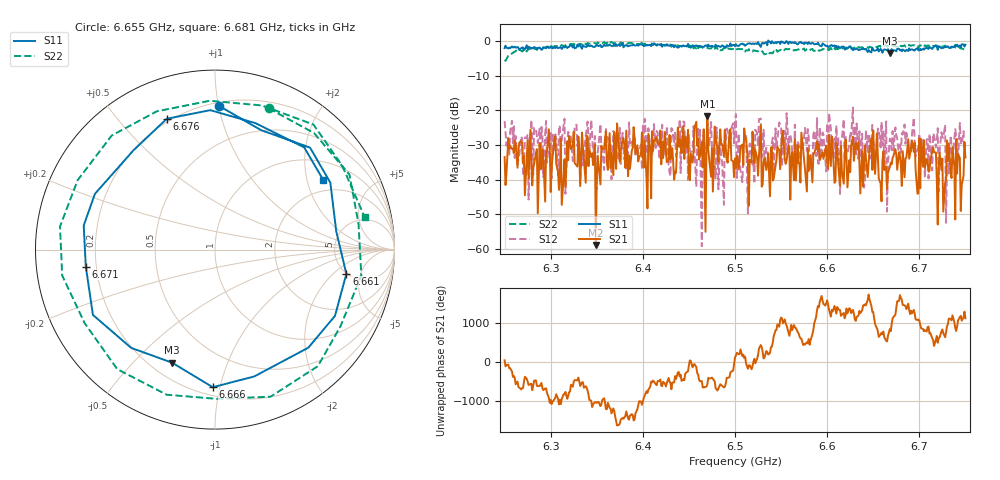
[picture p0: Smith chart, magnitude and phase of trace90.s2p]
# Hz S RI R 50
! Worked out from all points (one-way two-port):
!   401 points, 6.25 GHz to 6.75 GHz, reference 50 ohm
!   highest |S21| = -21.68 dB at 6.47 GHz (marker M1); lowest = -58.8 dB at 6.349 GHz (marker M2)
!   lowest |S11| = -3.4 dB at 6.668 GHz (marker M3), VSWR 5.13, Z = 14.1 - j32.6 ohm
!   |S11| at or under -10 dB: nowhere
!   |S22| runs from -5.6 to 0.1 dB; largest |S21 - S12| = 0.14
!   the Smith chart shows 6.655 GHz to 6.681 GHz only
!   S11 on the Smith chart (normalised r, x): 6.655 GHz: 0.23, +1.00; 6.661 GHz: 4.94, -3.00; 6.666 GHz: 0.26, -0.95; 6.671 GHz: 0.16, -0.06; 6.676 GHz: 0.19, +0.68; 6.681 GHz: 1.59, +2.53
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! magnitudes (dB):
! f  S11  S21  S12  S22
! 6.25 GHz  -2.0  -33.5  -23.1  -5.4
! 6.334 GHz  -2.2  -26.4  -30.1  -0.9
! 6.341 GHz  -1.3  -36.1  -28.4  -0.6
! 6.349 GHz  -1.3  -58.8  -42.1  -0.7
! 6.358 GHz  -1.0  -31.0  -37.2  -0.2
! 6.406 GHz  -1.1  -26.7  -25.2  -0.7
! 6.418 GHz  -0.9  -29.8  -34.1  -1.0
! 6.47 GHz  -1.5  -21.7  -23.6  -1.9
! 6.485 GHz  -1.5  -29.5  -33.8  -2.5
! 6.5 GHz  -1.4  -33.9  -23.2  -2.7
! 6.516 GHz  -0.5  -34.2  -29.6  -2.6
! 6.525 GHz  -0.3  -38.9  -30.3  -2.9
! 6.535 GHz  -1.2  -35.2  -31.7  -4.0
! 6.584 GHz  -0.5  -40.8  -36.4  -2.2
! 6.655 GHz  -1.9  -33.5  -25.2  -1.5
! 6.661 GHz  -2.6  -31.8  -25.8  -1.7
! 6.666 GHz  -2.3  -38.0  -35.1  -1.4
! 6.668 GHz  -3.4  -36.3  -28.2  -1.3
! 6.671 GHz  -2.8  -33.7  -26.0  -1.2
! 6.676 GHz  -2.2  -37.1  -28.1  -1.6
! 6.681 GHz  -2.9  -41.8  -26.6  -1.4
! 6.75 GHz  -1.0  -33.6  -33.9  -2.3
